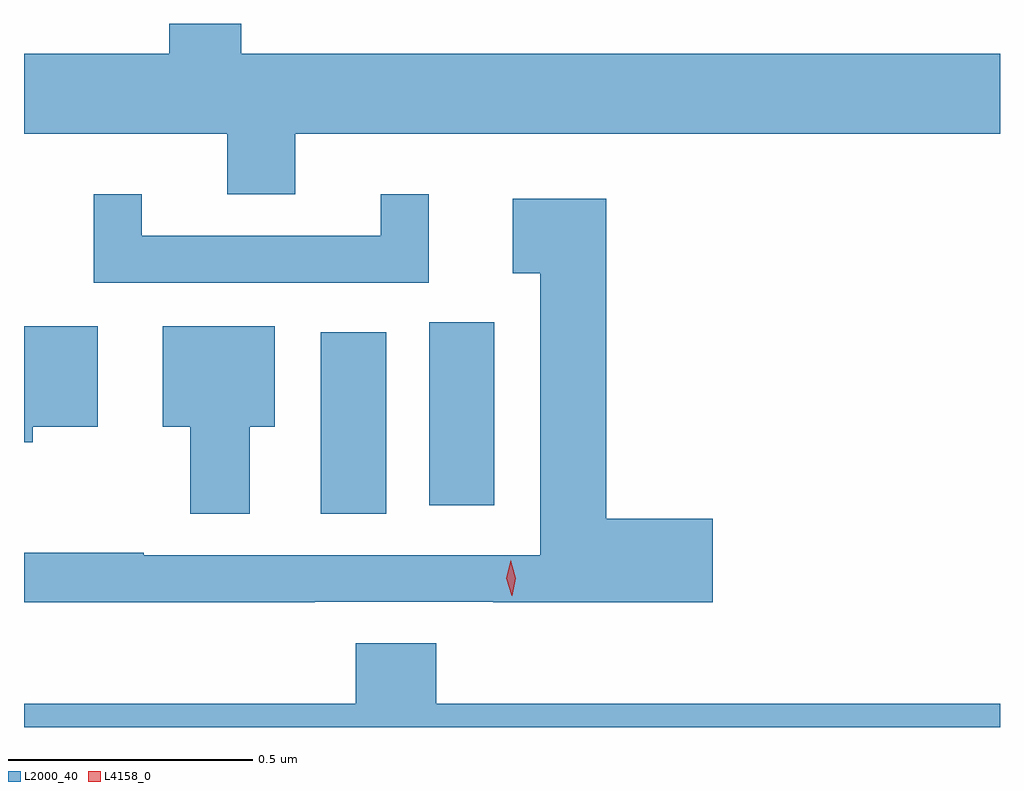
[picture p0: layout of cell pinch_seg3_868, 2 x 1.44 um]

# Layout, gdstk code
import gdstk
lib = gdstk.Library(unit=1e-6, precision=1e-09)
def R(c, l, rs):  # rectangles x0, y0, x1, y1
    for r in rs: c.add(gdstk.rectangle(r[:2], r[2:], *l))
def P(c, l, *ps):  # polygons
    for p in ps: c.add(gdstk.Polygon(p, *l))
L2000_40 = (2000, 40)
L4158_0 = (4158, 0)

pinch_seg3_868 = lib.new_cell('pinch_seg3_868')
R(pinch_seg3_868, L2000_40, [(649.76,666.838,649.894,667.21), (649.982,666.855,650.116,667.23)])
P(pinch_seg3_868, L2000_40, [(649.708,667.616),(651.152,667.616),(651.152,667.78),(649.597,667.78),(649.597,667.842),(649.45,667.842),(649.45,667.78),(649.152,667.78),(649.152,667.616),(649.568,667.616),(649.568,667.492),(649.708,667.492)],
  [(649.981,667.492),(649.883,667.492),(649.883,667.407),(649.393,667.407),(649.393,667.492),(649.295,667.492),(649.295,667.311),(649.981,667.311)],
  [(649.748,666.657),(650.114,666.657),(650.114,666.656),(650.563,666.656),(650.563,666.827),(650.345,666.827),(650.345,667.483),(650.154,667.483),(650.154,667.331),(650.21,667.331),(650.21,666.753),(649.397,666.753),(649.397,666.758),(649.152,666.758),(649.152,666.656),(649.748,666.656)],
  [(649.17,667.016),(649.303,667.016),(649.303,667.222),(649.152,667.222),(649.152,666.984),(649.17,666.984)],
  [(649.615,667.016),(649.666,667.016),(649.666,667.222),(649.436,667.222),(649.436,667.016),(649.493,667.016),(649.493,666.838),(649.615,666.838)],
  [(651.152,666.448),(649.997,666.448),(649.997,666.572),(649.832,666.572),(649.832,666.448),(649.152,666.448),(649.152,666.4),(651.152,666.4)])
P(pinch_seg3_868, L4158_0, [(650.151,666.67),(650.14,666.706),(650.149,666.742),(650.149,666.742),(650.149,666.742),(650.16,666.706),(650.152,666.67),(650.152,666.67)])

lib.write_gds('pinch_seg3_868.gds')
